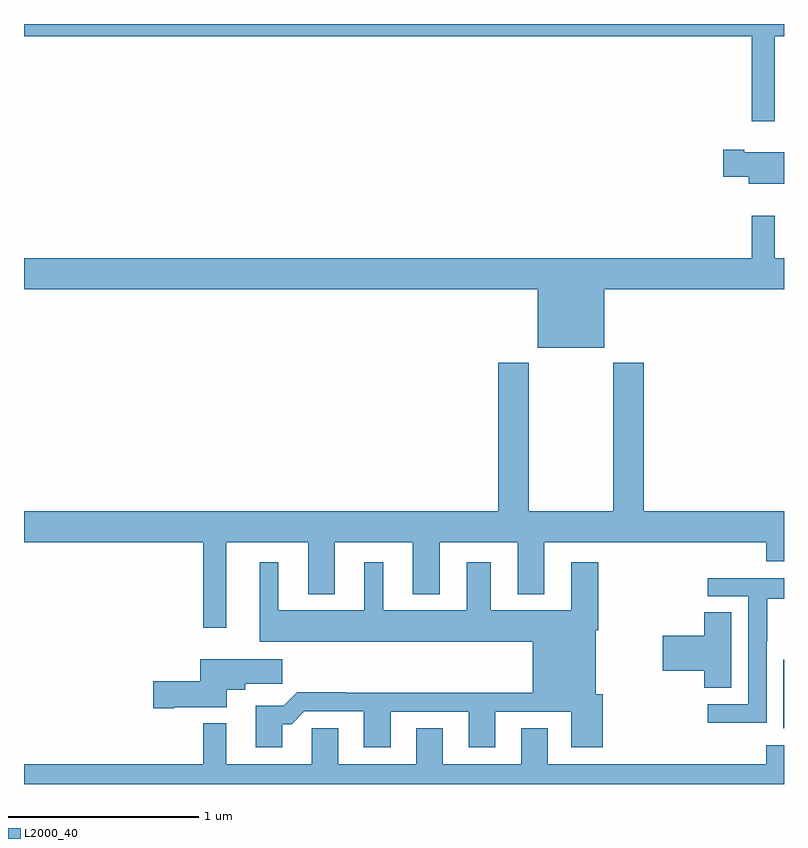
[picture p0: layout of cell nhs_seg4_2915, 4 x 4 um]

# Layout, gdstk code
import gdstk
lib = gdstk.Library(unit=1e-6, precision=1e-09)
def R(c, l, rs):  # rectangles x0, y0, x1, y1
    for r in rs: c.add(gdstk.rectangle(r[:2], r[2:], *l))
def P(c, l, *ps):  # polygons
    for p in ps: c.add(gdstk.Polygon(p, *l))
L2000_40 = (2000, 40)

nhs_seg4_2915 = lib.new_cell('nhs_seg4_2915')
R(nhs_seg4_2915, L2000_40, [(268.997,777.194,269,777.555)])
P(nhs_seg4_2915, L2000_40, [(268.951,780.836),(269,780.836),(269,780.9),(265,780.9),(265,780.836),(268.83,780.836),(268.83,780.387),(268.951,780.387)],
  [(269,780.226),(268.792,780.226),(268.792,780.239),(268.68,780.239),(268.68,780.097),(268.814,780.097),(268.814,780.059),(269,780.059)],
  [(268.054,779.504),(269,779.504),(269,779.668),(268.951,779.668),(268.951,779.89),(268.83,779.89),(268.83,779.668),(265,779.668),(265,779.504),(267.704,779.504),(267.704,779.195),(268.054,779.195)],
  [(265,778.172),(265.944,778.172),(265.944,777.723),(266.065,777.723),(266.065,778.172),(266.495,778.172),(266.495,777.899),(266.635,777.899),(266.635,778.172),(267.047,778.172),(267.047,777.899),(267.187,777.899),(267.187,778.172),(267.599,778.172),(267.599,777.899),(267.739,777.899),(267.739,778.172),(268.907,778.172),(268.907,778.073),(269,778.073),(269,778.336),(268.262,778.336),(268.262,779.116),(268.102,779.116),(268.102,778.336),(267.657,778.336),(267.657,779.116),(267.497,779.116),(267.497,778.336),(265,778.336)],
  [(266.359,777.215),(266.408,777.215),(266.475,777.282),(266.789,777.282),(266.789,777.093),(266.929,777.093),(266.929,777.279),(267.341,777.279),(267.341,777.093),(267.481,777.093),(267.481,777.279),(267.881,777.279),(267.881,777.093),(268.046,777.093),(268.046,777.372),(268.009,777.372),(268.009,777.71),(268.022,777.71),(268.022,778.066),(267.881,778.066),(267.881,777.814),(267.457,777.814),(267.457,778.066),(267.329,778.066),(267.329,777.814),(266.89,777.814),(266.89,778.066),(266.792,778.066),(266.792,777.814),(266.338,777.814),(266.338,778.066),(266.24,778.066),(266.24,777.65),(267.677,777.65),(267.677,777.38),(266.693,777.38),(266.693,777.383),(266.438,777.383),(266.368,777.313),(266.219,777.313),(266.219,777.093),(266.359,777.093)],
  [(268.908,777.652),(268.911,777.652),(268.911,777.876),(269,777.876),(269,777.984),(268.599,777.984),(268.599,777.888),(268.812,777.888),(268.812,777.321),(268.599,777.321),(268.599,777.223),(268.908,777.223)],
  [(268.723,777.803),(268.58,777.803),(268.58,777.68),(268.362,777.68),(268.362,777.497),(268.58,777.497),(268.58,777.406),(268.723,777.406)],
  [(265.792,777.305),(266.068,777.305),(266.068,777.395),(266.164,777.395),(266.164,777.427),(266.359,777.427),(266.359,777.556),(265.928,777.556),(265.928,777.44),(265.68,777.44),(265.68,777.298),(265.792,777.298)],
  [(269,777.103),(268.907,777.103),(268.907,777.004),(267.757,777.004),(267.757,777.194),(267.617,777.194),(267.617,777.004),(267.205,777.004),(267.205,777.194),(267.065,777.194),(267.065,777.004),(266.653,777.004),(266.653,777.194),(266.514,777.194),(266.514,777.004),(266.065,777.004),(266.065,777.22),(265.944,777.22),(265.944,777.004),(265,777.004),(265,776.9),(269,776.9)])

lib.write_gds('nhs_seg4_2915.gds')
